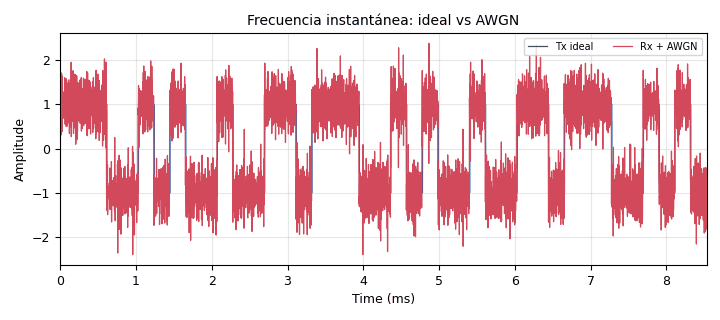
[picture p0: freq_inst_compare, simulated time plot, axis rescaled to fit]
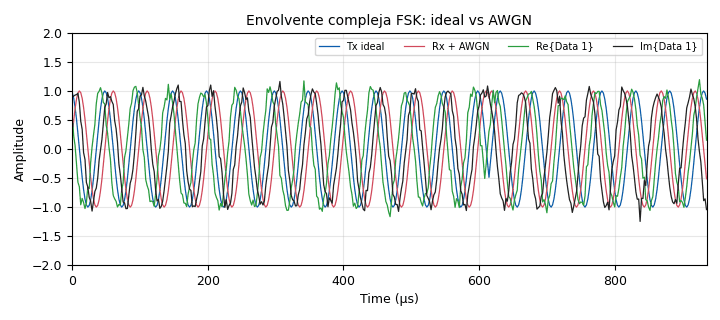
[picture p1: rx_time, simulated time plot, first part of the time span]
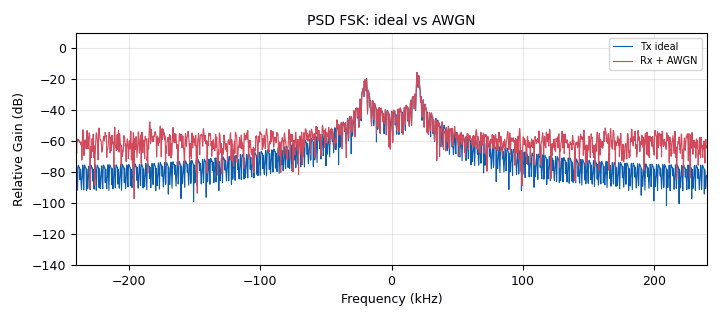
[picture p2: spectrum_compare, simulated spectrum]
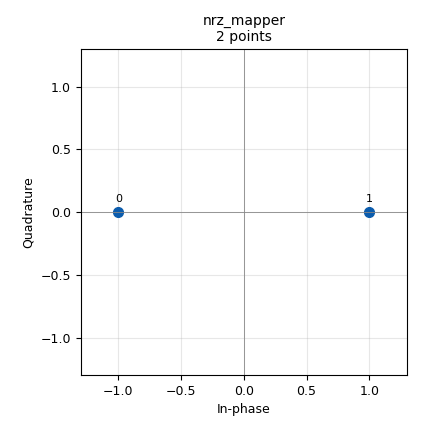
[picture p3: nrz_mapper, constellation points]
options:
  parameters:
    comment: 'FSK con ruido AWGN: envolvente compleja, PSD y frecuencia instantanea'
    description: 'FSK con AWGN: comparación de envolvente compleja, PSD y frecuencia instantánea'
    generate_options: qt_gui
    id: Modulacion_FSK_AWGN
    output_language: python
    title: Modulacion_FSK_AWGN
  states: {}

blocks:
- name: fsk_deviation
  id: variable_qtgui_range
  parameters:
    label: Desviación FSK (Hz)
    start: '5000'
    step: '1000'
    stop: '100000'
    value: '20000'
  states: {}
- name: noise_voltage
  id: variable_qtgui_range
  parameters:
    label: Noise voltage
    start: '0.0'
    step: '0.01'
    stop: '1.0'
    value: '0.1'
  states: {}
- name: samp_rate
  id: variable
  parameters:
    comment: |-
      Fase 1 (E1): Rb = 4.8 kbps
      samp_rate = Rb*sps = 4800*100
    value: 480e3
  states: {}
- name: sps
  id: variable
  parameters:
    value: '100'
  states: {}
- name: symbol_rate
  id: variable
  parameters:
    value: samp_rate/sps
  states: {}
- name: Rb
  id: variable_qtgui_label
  parameters:
    label: Rb (bps)
    type: real
    value: symbol_rate
  states: {}
- name: h_mod
  id: variable_qtgui_label
  parameters:
    label: Indice de modulacion h = 2*df/Rb
    type: real
    value: 2*fsk_deviation/symbol_rate
  states: {}
- name: B_carson
  id: variable_qtgui_label
  parameters:
    label: Ancho de banda Carson (Hz)
    type: real
    value: 2*(fsk_deviation+symbol_rate)
  states: {}
- name: bit_source
  id: blocks_vector_source_x
  parameters:
    repeat: 'True'
    type: byte
    vector: '[0,1,0,0,1,1,0,1,1,1,0,0,1,0,1,0]'
  states: {}
- name: channel_awgn
  id: channels_channel_model
  parameters:
    block_tags: 'True'
    epsilon: '1.0'
    freq_offset: '0.0'
    noise_voltage: noise_voltage
    seed: '0'
    taps: 1.0 + 0.0j
  states: {}
- name: freq_inst_compare
  id: qtgui_time_sink_x
  parameters:
    grid: 'True'
    label1: Tx ideal
    label2: Rx + AWGN
    name: '"Frecuencia instantánea: ideal vs AWGN"'
    nconnections: '2'
    size: '4096'
    srate: samp_rate
    type: float
    ymax: '2'
    ymin: '-2'
  states: {}
- name: fsk_demod_rx
  id: analog_quadrature_demod_cf
  parameters:
    gain: samp_rate/(2*math.pi*fsk_deviation)
  states: {}
- name: fsk_demod_tx
  id: analog_quadrature_demod_cf
  parameters:
    gain: samp_rate/(2*math.pi*fsk_deviation)
  states: {}
- name: fsk_modulator
  id: analog_frequency_modulator_fc
  parameters:
    sensitivity: 2*math.pi*fsk_deviation/samp_rate
  states: {}
- name: nrz_mapper
  id: digital_chunks_to_symbols_xx
  parameters:
    dimension: '1'
    in_type: byte
    out_type: float
    symbol_table: '[-1.0, 1.0]'
  states: {}
- name: rx_time
  id: qtgui_time_sink_x
  parameters:
    grid: 'True'
    label1: Tx ideal
    label2: Rx + AWGN
    label3: ''
    label4: ''
    name: '"Envolvente compleja FSK: ideal vs AWGN"'
    nconnections: '2'
    size: '4096'
    srate: samp_rate
    type: complex
    ymax: '2'
    ymin: '-2'
  states: {}
- name: spectrum_compare
  id: qtgui_freq_sink_x
  parameters:
    bw: samp_rate
    fc: '0'
    fftsize: '2048'
    grid: 'True'
    label1: Tx ideal
    label2: Rx + AWGN
    name: '"PSD FSK: ideal vs AWGN"'
    nconnections: '2'
    type: complex
  states: {}
- name: symbol_repeat
  id: blocks_repeat
  parameters:
    interp: sps
    type: float
  states: {}
- name: throttle
  id: blocks_throttle2
  parameters:
    samples_per_second: samp_rate
    type: complex
  states: {}

connections:
- [bit_source, '0', nrz_mapper, '0']
- [channel_awgn, '0', fsk_demod_rx, '0']
- [channel_awgn, '0', rx_time, '1']
- [channel_awgn, '0', spectrum_compare, '1']
- [fsk_demod_rx, '0', freq_inst_compare, '1']
- [fsk_demod_tx, '0', freq_inst_compare, '0']
- [fsk_modulator, '0', throttle, '0']
- [nrz_mapper, '0', symbol_repeat, '0']
- [symbol_repeat, '0', fsk_modulator, '0']
- [throttle, '0', channel_awgn, '0']
- [throttle, '0', fsk_demod_tx, '0']
- [throttle, '0', rx_time, '0']
- [throttle, '0', spectrum_compare, '0']

metadata:
  file_format: 1
  grc_version: 3.10.12.0
